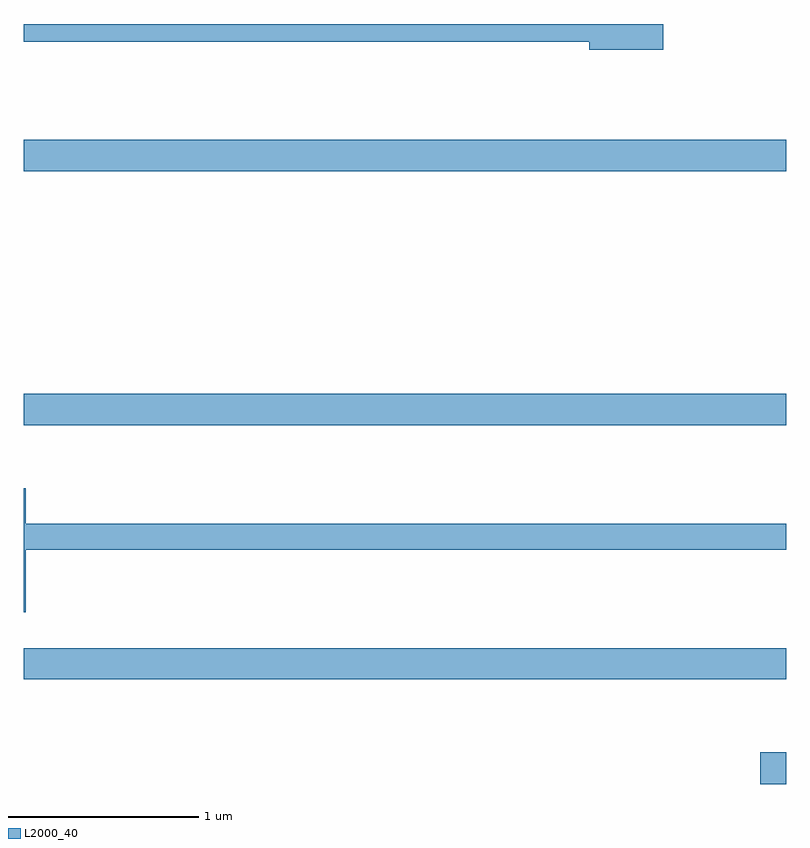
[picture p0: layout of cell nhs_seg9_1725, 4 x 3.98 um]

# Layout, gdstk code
import gdstk
lib = gdstk.Library(unit=1e-6, precision=1e-09)
def R(c, l, rs):  # rectangles x0, y0, x1, y1
    for r in rs: c.add(gdstk.rectangle(r[:2], r[2:], *l))
def A(c, l, x, y, w, h, nx, ny, dx, dy):  # array of equal rectangles
    R(c, l, [(x+i*dx, y+j*dy, x+i*dx+w, y+j*dy+h) for i in range(nx) for j in range(ny)])
def P(c, l, *ps):  # polygons
    for p in ps: c.add(gdstk.Polygon(p, *l))
L2000_40 = (2000, 40)

nhs_seg9_1725 = lib.new_cell('nhs_seg9_1725')
A(nhs_seg9_1725, L2000_40, 207, 1219.064, 4, 0.164, 1, 3, 0, 1.332)
R(nhs_seg9_1725, L2000_40, [(210.864,1218.515,211,1218.681)])
P(nhs_seg9_1725, L2000_40, [(210.355,1222.5),(207,1222.5),(207,1222.408),(209.966,1222.408),(209.966,1222.366),(210.355,1222.366)],
  [(207.011,1219.744),(211,1219.744),(211,1219.88),(207.011,1219.88),(207.011,1220.065),(207,1220.065),(207,1219.416),(207.011,1219.416)])

lib.write_gds('nhs_seg9_1725.gds')
